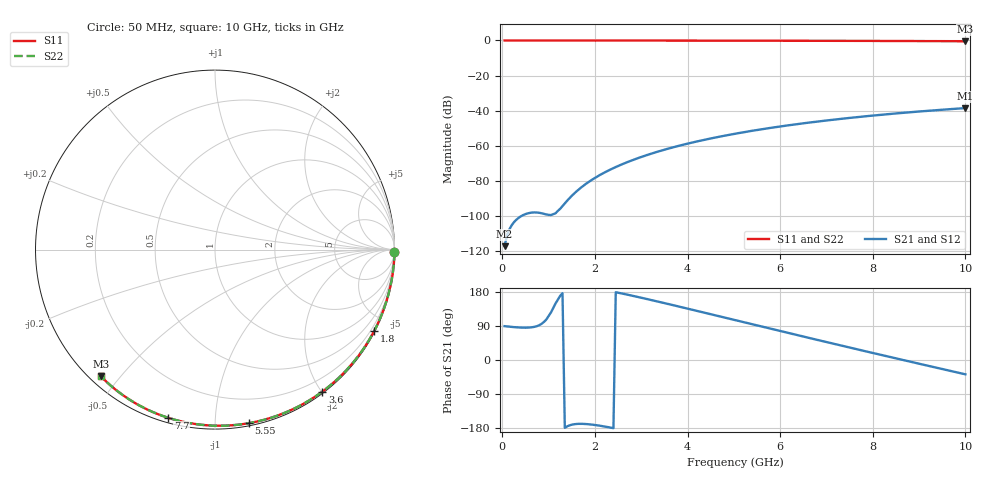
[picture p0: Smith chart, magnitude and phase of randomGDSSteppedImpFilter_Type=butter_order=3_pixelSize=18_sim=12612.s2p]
! freq	dB(S11)	phase(S11)	dB(S12)	phase(S12)
!  dB(S21)	phase(S21)	dB(S22)	phase(S22)
!S-par simulation data
#  GHz  S  DB  R 50
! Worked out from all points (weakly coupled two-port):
!   200 points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, 50 MHz to 10 GHz, reference 50 ohm
!   highest |S21| = -38.50 dB at 10 GHz (marker M1); lowest = -117.1 dB at 50 MHz (marker M2)
!   lowest |S11| = -0.4 dB at 10 GHz (marker M3), VSWR 39.03, Z = 1.53 - j22.2 ohm
!   |S11| at or under -10 dB: nowhere
!   |S22| runs from -0.4 to 0.0 dB; largest |S21 - S12| = 0
!   S11 on the Smith chart (normalised r, x): 50 MHz: open; 1.8 GHz: 0.04, -4.16; 3.6 GHz: 0.02, -2.01; 5.55 GHz: 0.02, -1.21; 7.7 GHz: 0.02, -0.76; 10 GHz: 0.03, -0.44
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0.05  -0.00 -0.8  -117.07 89.3  -117.07 89.3  -0.00 -0.8
0.45  -0.01 -6.9  -99.38 85.3  -99.38 85.3  -0.01 -6.9
0.9  -0.02 -13.7  -98.69 100.6  -98.69 100.6  -0.02 -13.7
1.75  -0.03 -26.3  -82.70 -168.6  -82.70 -168.6  -0.03 -26.3
1.8  -0.03 -27.1  -81.72 -168.9  -81.72 -168.9  -0.03 -27.1
1.9  -0.04 -28.5  -79.91 -170.0  -79.91 -170.0  -0.04 -28.5
2.05  -0.04 -30.7  -77.45 -172.4  -77.45 -172.4  -0.04 -30.7
2.25  -0.04 -33.6  -74.56 -176.4  -74.56 -176.4  -0.04 -33.6
2.45  -0.05 -36.6  -72.03 178.9  -72.03 178.9  -0.05 -36.6
2.65  -0.05 -39.4  -69.77 173.8  -69.77 173.8  -0.05 -39.4
3  -0.06 -44.4  -66.31 164.4  -66.31 164.4  -0.06 -44.4
3.4  -0.07 -50.1  -62.94 153.1  -62.94 153.1  -0.07 -50.1
3.6  -0.07 -52.9  -61.44 147.3  -61.44 147.3  -0.07 -52.9
4.3  -0.09 -62.5  -56.91 126.8  -56.91 126.8  -0.09 -62.5
5.05  -0.11 -72.5  -52.97 104.6  -52.97 104.6  -0.11 -72.5
5.55  -0.13 -79.0  -50.75 89.8  -50.75 89.8  -0.13 -79.0
6.1  -0.15 -86.0  -48.58 73.6  -48.58 73.6  -0.15 -86.0
6.7  -0.18 -93.5  -46.49 56.1  -46.49 56.1  -0.18 -93.5
7.7  -0.24 -105.5  -43.53 27.1  -43.53 27.1  -0.24 -105.5
8.35  -0.29 -113.2  -41.89 8.6  -41.89 8.6  -0.29 -113.2
9.15  -0.36 -122.4  -40.12 -14.0  -40.12 -14.0  -0.36 -122.4
10  -0.45 -132.1  -38.50 -37.8  -38.50 -37.8  -0.45 -132.1
